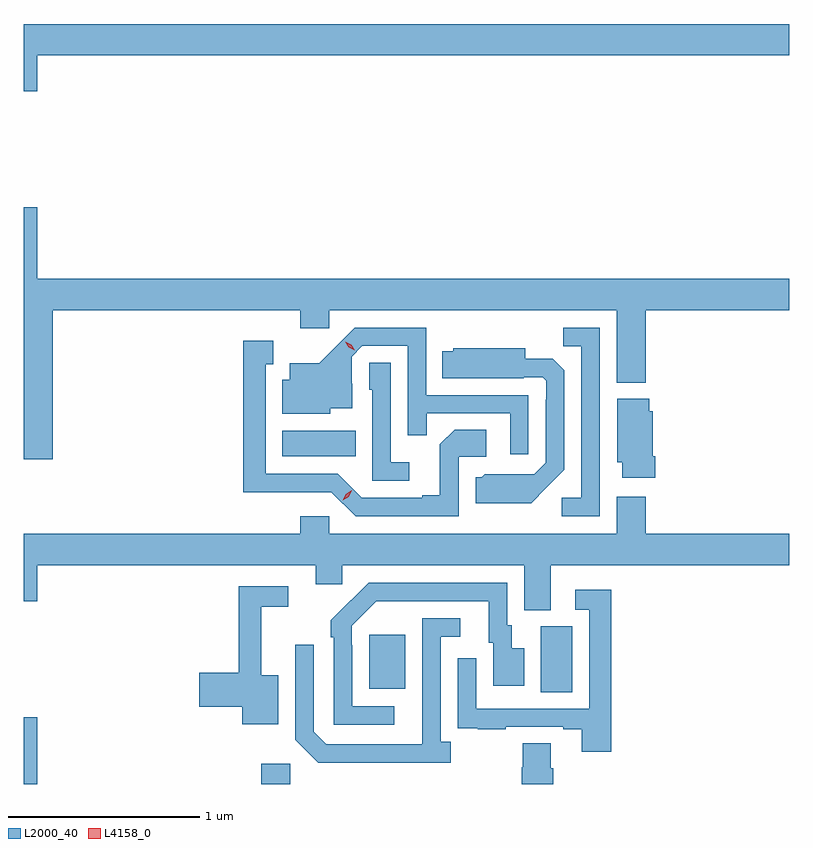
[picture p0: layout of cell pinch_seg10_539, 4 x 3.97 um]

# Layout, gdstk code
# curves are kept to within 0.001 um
import gdstk
lib = gdstk.Library(unit=1e-6, precision=1e-09)
def R(c, l, rs):  # rectangles x0, y0, x1, y1
    for r in rs: c.add(gdstk.rectangle(r[:2], r[2:], *l))
def P(c, l, *ps):  # polygons
    for p in ps: c.add(gdstk.Polygon(p, *l))
L2000_40 = (2000, 40)
L4158_0 = (4158, 0)

pinch_seg10_539 = lib.new_cell('pinch_seg10_539')
R(pinch_seg10_539, L2000_40, [(356.91,1257.881,356.98,1258.231), (358.151,1257.881,358.302,1257.988), (359.612,1258.36,359.776,1258.704), (358.715,1258.379,358.903,1258.66), (358.262,1259.594,358.646,1259.728)])
P(pinch_seg10_539, L2000_40, [(356.98,1261.688),(360.91,1261.688),(360.91,1261.852),(356.91,1261.852),(356.91,1261.5),(356.98,1261.5)],
  [(357.062,1260.356),(358.355,1260.356),(358.355,1260.261),(358.506,1260.261),(358.506,1260.356),(360.008,1260.356),(360.008,1259.978),(360.161,1259.978),(360.161,1260.356),(360.91,1260.356),(360.91,1260.52),(356.98,1260.52),(356.98,1260.895),(356.91,1260.895),(356.91,1259.577),(357.062,1259.577)],
  [(359.919,1260.264),(359.728,1260.264),(359.728,1260.169),(359.823,1260.169),(359.823,1259.376),(359.721,1259.376),(359.721,1259.28),(359.919,1259.28)],
  [(359.547,1259.913),(359.013,1259.913),(359.013,1260.264),(358.64,1260.264),(358.453,1260.079),(358.301,1260.079),(358.301,1259.992),(358.262,1259.992),(358.262,1259.816),(358.512,1259.816),(358.512,1259.843),(358.627,1259.843),(358.627,1259.972),(358.623,1259.972),(358.623,1260.114),(358.68,1260.171),(358.917,1260.171),(358.917,1259.704),(359.015,1259.704),(359.015,1259.817),(359.451,1259.817),(359.451,1259.604),(359.547,1259.604)],
  [(359.184,1259.592),(359.326,1259.592),(359.326,1259.732),(359.161,1259.732),(359.085,1259.656),(359.085,1259.389),(358.991,1259.389),(358.991,1259.376),(358.677,1259.376),(358.551,1259.502),(358.174,1259.502),(358.174,1260.075),(358.213,1260.075),(358.213,1260.196),(358.056,1260.196),(358.056,1259.405),(358.518,1259.406),(358.644,1259.28),(359.184,1259.28)],
  [(359.641,1259.429),(359.733,1259.522),(359.733,1260.044),(359.674,1260.103),(359.53,1260.103),(359.53,1260.157),(359.154,1260.157),(359.154,1260.142),(359.098,1260.142),(359.098,1260.002),(359.522,1260.002),(359.522,1260.006),(359.622,1260.006),(359.64,1259.988),(359.64,1259.888),(359.637,1259.888),(359.637,1259.559),(359.577,1259.499),(359.32,1259.5),(359.304,1259.484),(359.273,1259.484),(359.273,1259.348),(359.561,1259.348)],
  [(358.924,1259.563),(358.827,1259.563),(358.827,1260.083),(358.716,1260.083),(358.716,1259.94),(358.731,1259.94),(358.731,1259.466),(358.924,1259.466)],
  [(360.209,1259.593),(360.196,1259.593),(360.196,1259.829),(360.178,1259.829),(360.178,1259.893),(360.011,1259.893),(360.011,1259.562),(360.038,1259.562),(360.038,1259.481),(360.209,1259.481)],
  [(359.665,1259.024),(360.91,1259.024),(360.91,1259.188),(360.161,1259.188),(360.161,1259.383),(360.008,1259.383),(360.008,1259.188),(358.506,1259.188),(358.506,1259.281),(358.355,1259.281),(358.355,1259.188),(356.91,1259.188),(356.91,1258.836),(356.98,1258.836),(356.98,1259.024),(358.436,1259.024),(358.436,1258.926),(358.575,1258.926),(358.575,1259.024),(359.525,1259.024),(359.525,1258.789),(359.665,1258.789)],
  [(358.846,1258.287),(358.626,1258.287),(358.626,1258.607),(358.623,1258.607),(358.623,1258.707),(358.752,1258.836),(359.339,1258.836),(359.339,1258.62),(359.363,1258.62),(359.363,1258.395),(359.524,1258.395),(359.524,1258.591),(359.461,1258.591),(359.461,1258.71),(359.436,1258.71),(359.436,1258.932),(358.712,1258.932),(358.515,1258.737),(358.515,1258.649),(358.53,1258.649),(358.53,1258.191),(358.846,1258.191)],
  [(358.24,1258.45),(358.151,1258.45),(358.151,1258.806),(358.291,1258.806),(358.291,1258.914),(358.033,1258.914),(358.033,1258.463),(357.828,1258.463),(357.828,1258.285),(358.052,1258.285),(358.052,1258.193),(358.24,1258.193)],
  [(359.981,1258.897),(359.793,1258.897),(359.793,1258.791),(359.865,1258.791),(359.865,1258.275),(359.274,1258.275),(359.274,1258.537),(359.178,1258.537),(359.178,1258.282),(359.179,1258.282),(359.179,1258.173),(359.281,1258.173),(359.281,1258.167),(359.429,1258.167),(359.429,1258.179),(359.729,1258.179),(359.729,1258.167),(359.825,1258.167),(359.825,1258.05),(359.981,1258.05)],
  [(359.14,1258.102),(359.088,1258.102),(359.088,1258.65),(359.191,1258.65),(359.191,1258.746),(358.992,1258.746),(358.992,1258.089),(358.491,1258.089),(358.425,1258.155),(358.425,1258.609),(358.329,1258.609),(358.329,1258.113),(358.45,1257.992),(359.14,1257.992)],
  [(359.678,1257.962),(359.665,1257.962),(359.665,1258.094),(359.518,1258.094),(359.518,1257.969),(359.513,1257.969),(359.513,1257.881),(359.678,1257.881)])
P(pinch_seg10_539, L4158_0, [(358.639,1260.147),(358.609,1260.162),(358.591,1260.191),(358.591,1260.192),(358.591,1260.192),(358.622,1260.177),(358.64,1260.148),(358.64,1260.147)],
  [(358.576,1259.363),(358.576,1259.363),(358.593,1259.396),(358.624,1259.415),(358.625,1259.415),(358.625,1259.415),(358.607,1259.382),(358.576,1259.363)])

lib.write_gds('pinch_seg10_539.gds')
